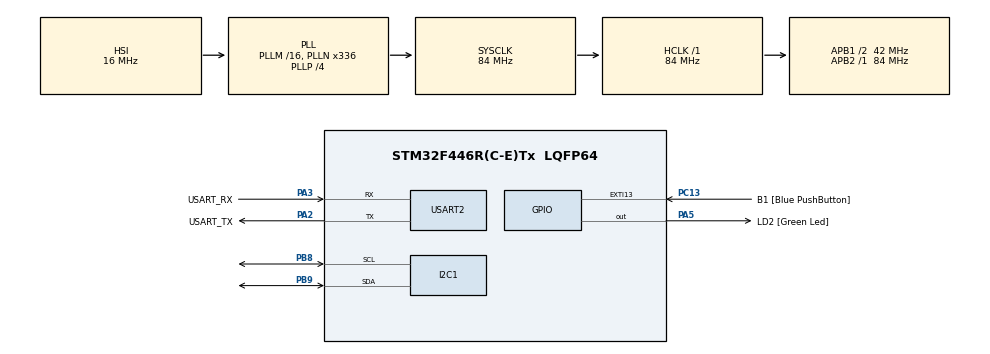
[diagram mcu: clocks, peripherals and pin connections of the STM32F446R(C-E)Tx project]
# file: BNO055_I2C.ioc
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Mcu.Family=STM32F4
Mcu.Name=STM32F446R(C-E)Tx
Mcu.Package=LQFP64
NVIC.PriorityGroup=NVIC_PRIORITYGROUP_0
PA13.GPIO_Label=TMS
PA13.Mode=Serial_Wire
PA13.Signal=SYS_JTMS-SWDIO
PA14.GPIO_Label=TCK
PA14.Mode=Serial_Wire
PA14.Signal=SYS_JTCK-SWCLK
PA2.GPIO_Label=USART_TX
PA2.Mode=Asynchronous
PA2.Signal=USART2_TX
PA3.GPIO_Label=USART_RX
PA3.Mode=Asynchronous
PA3.Signal=USART2_RX
PA5.GPIO_Label=LD2 [Green Led]
PA5.Signal=GPIO_Output
PB3.GPIO_Label=SWO
PB3.Signal=SYS_JTDO-SWO
PB8.Mode=I2C
PB8.Signal=I2C1_SCL
PB9.Mode=I2C
PB9.Signal=I2C1_SDA
PC13.GPIO_Label=B1 [Blue PushButton]
PC13.GPIO_ModeDefaultEXTI=GPIO_MODE_IT_FALLING
PC13.Signal=GPXTI13
PC14-OSC32_IN.Mode=LSE-External-Oscillator
PC14-OSC32_IN.Signal=RCC_OSC32_IN
PC15-OSC32_OUT.Mode=LSE-External-Oscillator
PC15-OSC32_OUT.Signal=RCC_OSC32_OUT
PH0-OSC_IN.Mode=HSE-External-Oscillator
PH0-OSC_IN.Signal=RCC_OSC_IN
PH1-OSC_OUT.Mode=HSE-External-Oscillator
PH1-OSC_OUT.Signal=RCC_OSC_OUT
ProjectManager.HeapSize=0x200
ProjectManager.StackSize=0x400
ProjectManager.TargetToolchain=STM32CubeIDE
RCC.48MHZClocksFreq_Value=84000000
RCC.AHBFreq_Value=84000000
RCC.APB1CLKDivider=RCC_HCLK_DIV2
RCC.APB1Freq_Value=42000000
RCC.APB1TimFreq_Value=84000000
RCC.APB2Freq_Value=84000000
RCC.APB2TimFreq_Value=84000000
RCC.CortexFreq_Value=84000000
RCC.FLatency-AdvancedSettings=FLASH_LATENCY_2
RCC.HCLKFreq_Value=84000000
RCC.HSE_VALUE=8000000
RCC.HSI_VALUE=16000000
RCC.PLLN=336
RCC.PLLP=RCC_PLLP_DIV4
RCC.SYSCLKFreq_VALUE=84000000
RCC.SYSCLKSource=RCC_SYSCLKSOURCE_PLLCLK
RCC.USBFreq_Value=168000000
RCC.VCOOutputFreq_Value=336000000
USART2.VirtualMode=VM_ASYNC
board=NUCLEO-F446RE

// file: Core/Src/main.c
/* USER CODE BEGIN Header */
/**
  ******************************************************************************
  * @file           : main.c
  * @brief          : Main program body
  ******************************************************************************
  * @attention
  *
  * Copyright (c) 2025 STMicroelectronics.
  * All rights reserved.
  *
  * This software is licensed under terms that can be found in the LICENSE file
  * in the root directory of this software component.
  * If no LICENSE file comes with this software, it is provided AS-IS.
  *
  ******************************************************************************
  */
/* USER CODE END Header */
#include "main.h"

/* USER CODE BEGIN Includes */
#include <stdio.h>
#include <string.h>

#define BNO055_ADDR  (0x28 << 1)

#define BNO055_CHIP_ID     0x00
#define BNO055_OPR_MODE   0x3D
#define BNO055_PWR_MODE   0x3E
#define BNO055_SYS_TRIGGER 0x3F

#define BNO055_EULER_H_LSB 0x1A   // Heading (Yaw)
#define BNO055_EULER_R_LSB 0x1C   // Roll
#define BNO055_EULER_P_LSB 0x1E   // Pitch

#define OPERATION_MODE_NDOF 0x0C
#define POWER_MODE_NORMAL   0x00

/* USER CODE END Includes */

I2C_HandleTypeDef hi2c1;

UART_HandleTypeDef huart2;

void SystemClock_Config(void);
static void MX_GPIO_Init(void);
static void MX_USART2_UART_Init(void);
static void MX_I2C1_Init(void);

/* USER CODE BEGIN 0 */

void BNO055_Write(uint8_t reg, uint8_t data)
{
    HAL_I2C_Mem_Write(&hi2c1, BNO055_ADDR, reg, 1, &data, 1, HAL_MAX_DELAY);
}

void BNO055_Read(uint8_t reg, uint8_t *data, uint8_t len)
{
    HAL_I2C_Mem_Read(&hi2c1, BNO055_ADDR, reg, 1, data, len, HAL_MAX_DELAY);
}

/* USER CODE END 0 */

int main(void)
{

  /* MCU Configuration--------------------------------------------------------*/

  /* Reset of all peripherals, Initializes the Flash interface and the Systick. */
  HAL_Init();

  /* Configure the system clock */
  SystemClock_Config();

  /* Initialize all configured peripherals */
  MX_GPIO_Init();
  MX_USART2_UART_Init();
  MX_I2C1_Init();
  /* USER CODE BEGIN 2 */
  uint8_t id = 0;

  HAL_Delay(650);
  BNO055_Read(BNO055_CHIP_ID, &id, 1);

  BNO055_Write(BNO055_OPR_MODE, 0x00); // Config mode
  HAL_Delay(20);

  BNO055_Write(BNO055_PWR_MODE, POWER_MODE_NORMAL);
  HAL_Delay(10);

  BNO055_Write(BNO055_OPR_MODE, OPERATION_MODE_NDOF); // Fusión completa
  HAL_Delay(20);

  /* USER CODE END 2 */

  /* Infinite loop */
  /* USER CODE BEGIN WHILE */
  while (1)
  {
	  /* Infinite loop */
	  /* USER CODE BEGIN WHILE */
	  while (1)
	  {
	      uint8_t buffer[6];
	      int16_t yaw, roll, pitch;

	      BNO055_Read(BNO055_EULER_H_LSB, buffer, 6);

	      yaw   = (int16_t)((buffer[1] << 8) | buffer[0]);
	      roll  = (int16_t)((buffer[3] << 8) | buffer[2]);
	      pitch = (int16_t)((buffer[5] << 8) | buffer[4]);

	      float heading = yaw   / 16.0f;
	      float r = roll  / 16.0f;
	      float p = pitch / 16.0f;

	      char msg[100];
	      sprintf(msg, "Yaw: %.2f  Roll: %.2f  Pitch: %.2f\r\n", heading, r, p);
	      HAL_UART_Transmit(&huart2, (uint8_t*)msg, strlen(msg), HAL_MAX_DELAY);

	      HAL_Delay(100);
	  }
	  /* USER CODE END WHILE */

    /* USER CODE END WHILE */

  }
}

void SystemClock_Config(void)
{
  RCC_OscInitTypeDef RCC_OscInitStruct = {0};
  RCC_ClkInitTypeDef RCC_ClkInitStruct = {0};

  /** Configure the main internal regulator output voltage
  */
  __HAL_RCC_PWR_CLK_ENABLE();
  __HAL_PWR_VOLTAGESCALING_CONFIG(PWR_REGULATOR_VOLTAGE_SCALE3);

  /** Initializes the RCC Oscillators according to the specified parameters
  * in the RCC_OscInitTypeDef structure.
  */
  RCC_OscInitStruct.OscillatorType = RCC_OSCILLATORTYPE_HSI;
  RCC_OscInitStruct.HSIState = RCC_HSI_ON;
  RCC_OscInitStruct.HSICalibrationValue = RCC_HSICALIBRATION_DEFAULT;
  RCC_OscInitStruct.PLL.PLLState = RCC_PLL_ON;
  RCC_OscInitStruct.PLL.PLLSource = RCC_PLLSOURCE_HSI;
  RCC_OscInitStruct.PLL.PLLM = 16;
  RCC_OscInitStruct.PLL.PLLN = 336;
  RCC_OscInitStruct.PLL.PLLP = RCC_PLLP_DIV4;
  RCC_OscInitStruct.PLL.PLLQ = 2;
  RCC_OscInitStruct.PLL.PLLR = 2;
  if (HAL_RCC_OscConfig(&RCC_OscInitStruct) != HAL_OK)
  {
    Error_Handler();
  }

  /** Initializes the CPU, AHB and APB buses clocks
  */
  RCC_ClkInitStruct.ClockType = RCC_CLOCKTYPE_HCLK|RCC_CLOCKTYPE_SYSCLK
                              |RCC_CLOCKTYPE_PCLK1|RCC_CLOCKTYPE_PCLK2;
  RCC_ClkInitStruct.SYSCLKSource = RCC_SYSCLKSOURCE_PLLCLK;
  RCC_ClkInitStruct.AHBCLKDivider = RCC_SYSCLK_DIV1;
  RCC_ClkInitStruct.APB1CLKDivider = RCC_HCLK_DIV2;
  RCC_ClkInitStruct.APB2CLKDivider = RCC_HCLK_DIV1;

  if (HAL_RCC_ClockConfig(&RCC_ClkInitStruct, FLASH_LATENCY_2) != HAL_OK)
  {
    Error_Handler();
  }
}

static void MX_I2C1_Init(void)
{

  hi2c1.Instance = I2C1;
  hi2c1.Init.ClockSpeed = 100000;
  hi2c1.Init.DutyCycle = I2C_DUTYCYCLE_2;
  hi2c1.Init.OwnAddress1 = 0;
  hi2c1.Init.AddressingMode = I2C_ADDRESSINGMODE_7BIT;
  hi2c1.Init.DualAddressMode = I2C_DUALADDRESS_DISABLE;
  hi2c1.Init.OwnAddress2 = 0;
  hi2c1.Init.GeneralCallMode = I2C_GENERALCALL_DISABLE;
  hi2c1.Init.NoStretchMode = I2C_NOSTRETCH_DISABLE;
  if (HAL_I2C_Init(&hi2c1) != HAL_OK)
  {
    Error_Handler();
  }

}

static void MX_USART2_UART_Init(void)
{

  huart2.Instance = USART2;
  huart2.Init.BaudRate = 115200;
  huart2.Init.WordLength = UART_WORDLENGTH_8B;
  huart2.Init.StopBits = UART_STOPBITS_1;
  huart2.Init.Parity = UART_PARITY_NONE;
  huart2.Init.Mode = UART_MODE_TX_RX;
  huart2.Init.HwFlowCtl = UART_HWCONTROL_NONE;
  huart2.Init.OverSampling = UART_OVERSAMPLING_16;
  if (HAL_UART_Init(&huart2) != HAL_OK)
  {
    Error_Handler();
  }

}

static void MX_GPIO_Init(void)
{
  GPIO_InitTypeDef GPIO_InitStruct = {0};

  /* GPIO Ports Clock Enable */
  __HAL_RCC_GPIOC_CLK_ENABLE();
  __HAL_RCC_GPIOH_CLK_ENABLE();
  __HAL_RCC_GPIOA_CLK_ENABLE();
  __HAL_RCC_GPIOB_CLK_ENABLE();

  /*Configure GPIO pin Output Level */
  HAL_GPIO_WritePin(LD2_GPIO_Port, LD2_Pin, GPIO_PIN_RESET);

  /*Configure GPIO pin : B1_Pin */
  GPIO_InitStruct.Pin = B1_Pin;
  GPIO_InitStruct.Mode = GPIO_MODE_IT_FALLING;
  GPIO_InitStruct.Pull = GPIO_NOPULL;
  HAL_GPIO_Init(B1_GPIO_Port, &GPIO_InitStruct);

  /*Configure GPIO pin : LD2_Pin */
  GPIO_InitStruct.Pin = LD2_Pin;
  GPIO_InitStruct.Mode = GPIO_MODE_OUTPUT_PP;
  GPIO_InitStruct.Pull = GPIO_NOPULL;
  GPIO_InitStruct.Speed = GPIO_SPEED_FREQ_LOW;
  HAL_GPIO_Init(LD2_GPIO_Port, &GPIO_InitStruct);

}

void Error_Handler(void)
{
  __disable_irq();
  while (1)
  {
  }
}
